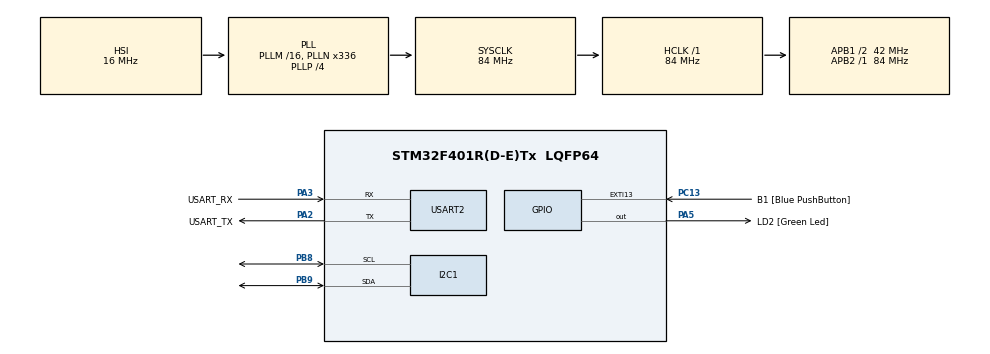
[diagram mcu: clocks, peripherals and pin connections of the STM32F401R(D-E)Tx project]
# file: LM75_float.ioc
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Mcu.Family=STM32F4
Mcu.Name=STM32F401R(D-E)Tx
Mcu.Package=LQFP64
NVIC.PriorityGroup=NVIC_PRIORITYGROUP_0
NVIC.TIM2_IRQn=true\:0\:0\:false\:false\:true\:true\:true
PA13.GPIO_Label=TMS
PA13.Mode=Serial_Wire
PA13.Signal=SYS_JTMS-SWDIO
PA14.GPIO_Label=TCK
PA14.Mode=Serial_Wire
PA14.Signal=SYS_JTCK-SWCLK
PA2.GPIO_Label=USART_TX
PA2.GPIO_Mode=GPIO_MODE_AF_PP
PA2.GPIO_PuPd=GPIO_NOPULL
PA2.GPIO_Speed=GPIO_SPEED_FREQ_LOW
PA2.Mode=Asynchronous
PA2.Signal=USART2_TX
PA3.GPIO_Label=USART_RX
PA3.GPIO_Mode=GPIO_MODE_AF_PP
PA3.GPIO_PuPd=GPIO_NOPULL
PA3.GPIO_Speed=GPIO_SPEED_FREQ_LOW
PA3.Mode=Asynchronous
PA3.Signal=USART2_RX
PA5.GPIO_Label=LD2 [Green Led]
PA5.GPIO_Mode=GPIO_MODE_OUTPUT_PP
PA5.GPIO_PuPd=GPIO_NOPULL
PA5.GPIO_Speed=GPIO_SPEED_FREQ_LOW
PA5.Signal=GPIO_Output
PB3.GPIO_Label=SWO
PB3.Signal=SYS_JTDO-SWO
PB8.Mode=I2C
PB8.Signal=I2C1_SCL
PB9.Mode=I2C
PB9.Signal=I2C1_SDA
PC13-ANTI_TAMP.GPIO_Label=B1 [Blue PushButton]
PC13-ANTI_TAMP.GPIO_ModeDefaultEXTI=GPIO_MODE_IT_FALLING
PC13-ANTI_TAMP.GPIO_PuPd=GPIO_NOPULL
PC13-ANTI_TAMP.Signal=GPXTI13
PC14-OSC32_IN.Mode=LSE-External-Oscillator
PC14-OSC32_IN.Signal=RCC_OSC32_IN
PC15-OSC32_OUT.Mode=LSE-External-Oscillator
PC15-OSC32_OUT.Signal=RCC_OSC32_OUT
PH0\ -\ OSC_IN.Mode=HSE-External-Clock-Source
PH0\ -\ OSC_IN.Signal=RCC_OSC_IN
PH1\ -\ OSC_OUT.Mode=HSE-External-Clock-Source
PH1\ -\ OSC_OUT.Signal=RCC_OSC_OUT
ProjectManager.HeapSize=0x200
ProjectManager.StackSize=0x400
ProjectManager.TargetToolchain=STM32CubeIDE
RCC.48MHZClocksFreq_Value=48000000
RCC.AHBFreq_Value=84000000
RCC.APB1CLKDivider=RCC_HCLK_DIV2
RCC.APB1Freq_Value=42000000
RCC.APB1TimFreq_Value=84000000
RCC.APB2Freq_Value=84000000
RCC.APB2TimFreq_Value=84000000
RCC.CortexFreq_Value=84000000
RCC.HCLKFreq_Value=84000000
RCC.HSE_VALUE=8000000
RCC.HSI_VALUE=16000000
RCC.PLLN=336
RCC.PLLP=RCC_PLLP_DIV4
RCC.PLLQ=7
RCC.SYSCLKFreq_VALUE=84000000
RCC.SYSCLKSource=RCC_SYSCLKSOURCE_PLLCLK
RCC.VCOOutputFreq_Value=336000000
TIM2.Period=10000 - 1
TIM2.Prescaler=8400 - 1
USART2.VirtualMode=VM_ASYNC
VP_TIM2_VS_ClockSourceINT.Mode=Internal
board=NUCLEO-F401RE

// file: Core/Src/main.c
/* USER CODE BEGIN Header */
/**
  ******************************************************************************
  * @file           : main.c
  * @brief          : Main program body
  ******************************************************************************
  * @attention
  *
  * <h2><center>&copy; Copyright (c) 2021 STMicroelectronics.
  * All rights reserved.</center></h2>
  *
  * This software component is licensed by ST under BSD 3-Clause license,
  * the "License"; You may not use this file except in compliance with the
  * License. You may obtain a copy of the License at:
  *                        opensource.org/licenses/BSD-3-Clause
  *
  ******************************************************************************
  */
/* USER CODE END Header */
#include "main.h"

/* USER CODE BEGIN PD */
#define LM75_ADDR_WRITE 0b10010000 + 0
#define LM75_ADDR_READ  0b10010000 + 1

/* USER CODE END PD */

I2C_HandleTypeDef hi2c1;

TIM_HandleTypeDef htim2;

UART_HandleTypeDef huart2;

/* USER CODE BEGIN PV */
uint8_t LM75_TEMP_ADDR = 0x00;
/* USER CODE END PV */

void SystemClock_Config(void);
static void MX_GPIO_Init(void);
static void MX_USART2_UART_Init(void);
static void MX_I2C1_Init(void);
static void MX_TIM2_Init(void);

/* USER CODE BEGIN 0 */
void HAL_TIM_PeriodElapsedCallback(TIM_HandleTypeDef *htim)
{
	if (htim == &htim2){
		uint8_t buffer[50];
		uint8_t data[6];
		int16_t MSByte = 0;
		int16_t LSByte = 0;
		float temperature = 0;
		uint8_t buflen = 0;

		if(HAL_I2C_Master_Receive(&hi2c1, LM75_ADDR_READ, data, 6, 20) == HAL_OK){
			/*
			 * We know that C stores signed numbers in complement 2, so we just have to concatenate our 16bit values into one
			 * By shifting the MSB though, we also multiply our value by 256, so we adjust that dividing by 256
			 */

			//DEBUG -> should return 126.875
//			int16_t MSByte = 0b01111110 << 8;
//			int16_t LSByte = 0b11100000;

			//DEBUG -> should return -25.000 + 0.875 = -24.125
//			int16_t MSByte = 0b11100111 << 8;
//			int16_t LSByte = 0b11100000;

			//DEBUG -> should return -1 + 0.500 = -0.5
//			int16_t MSByte = 0b11111111 << 8;
//			int16_t LSByte = 0b10000000;

			/*
			 * Since the sensor may update the MSByte before the LSByte and viceversa, we take 3 times those values,
			 * so that we can check them and pick the correct ones.
			 * That's why we take 6 bytes instead of 2. So if the first two pairs of MSByte and LSByte are equal, we are good.
			 * Otherwise, we pick the third pair
			 */
			if(data[0] == data[2] && data[1] == data[3]){
				MSByte = data[0] << 8;
				LSByte = data[1];
			}
			else{
				MSByte = data[4] << 8;
				LSByte = data[5];
			}

			temperature = (MSByte | LSByte)/256.0;
			buflen = snprintf(buffer, sizeof(buffer), "Temperature: %.3f C\r\n", temperature);
		}
		else{
			buflen = snprintf(buffer, sizeof(buffer), "Error reading from LM75\r\n");
		}
		HAL_UART_Transmit(&huart2, buffer, buflen, 100);
	}
}
/* USER CODE END 0 */

int main(void)
{

  /* MCU Configuration--------------------------------------------------------*/

  /* Reset of all peripherals, Initializes the Flash interface and the Systick. */
  HAL_Init();

  /* Configure the system clock */
  SystemClock_Config();

  /* Initialize all configured peripherals */
  MX_GPIO_Init();
  MX_USART2_UART_Init();
  MX_I2C1_Init();
  MX_TIM2_Init();
  /* USER CODE BEGIN 2 */
  HAL_I2C_Master_Transmit(&hi2c1, LM75_ADDR_WRITE, &LM75_TEMP_ADDR, 1, 10);
  HAL_TIM_Base_Start_IT(&htim2);
  /* USER CODE END 2 */

  /* Infinite loop */
  while (1)
  {

  }
}

void SystemClock_Config(void)
{
  RCC_OscInitTypeDef RCC_OscInitStruct = {0};
  RCC_ClkInitTypeDef RCC_ClkInitStruct = {0};

  /** Configure the main internal regulator output voltage
  */
  __HAL_RCC_PWR_CLK_ENABLE();
  __HAL_PWR_VOLTAGESCALING_CONFIG(PWR_REGULATOR_VOLTAGE_SCALE2);
  /** Initializes the RCC Oscillators according to the specified parameters
  * in the RCC_OscInitTypeDef structure.
  */
  RCC_OscInitStruct.OscillatorType = RCC_OSCILLATORTYPE_HSI;
  RCC_OscInitStruct.HSIState = RCC_HSI_ON;
  RCC_OscInitStruct.HSICalibrationValue = RCC_HSICALIBRATION_DEFAULT;
  RCC_OscInitStruct.PLL.PLLState = RCC_PLL_ON;
  RCC_OscInitStruct.PLL.PLLSource = RCC_PLLSOURCE_HSI;
  RCC_OscInitStruct.PLL.PLLM = 16;
  RCC_OscInitStruct.PLL.PLLN = 336;
  RCC_OscInitStruct.PLL.PLLP = RCC_PLLP_DIV4;
  RCC_OscInitStruct.PLL.PLLQ = 7;
  if (HAL_RCC_OscConfig(&RCC_OscInitStruct) != HAL_OK)
  {
    Error_Handler();
  }
  /** Initializes the CPU, AHB and APB buses clocks
  */
  RCC_ClkInitStruct.ClockType = RCC_CLOCKTYPE_HCLK|RCC_CLOCKTYPE_SYSCLK
                              |RCC_CLOCKTYPE_PCLK1|RCC_CLOCKTYPE_PCLK2;
  RCC_ClkInitStruct.SYSCLKSource = RCC_SYSCLKSOURCE_PLLCLK;
  RCC_ClkInitStruct.AHBCLKDivider = RCC_SYSCLK_DIV1;
  RCC_ClkInitStruct.APB1CLKDivider = RCC_HCLK_DIV2;
  RCC_ClkInitStruct.APB2CLKDivider = RCC_HCLK_DIV1;

  if (HAL_RCC_ClockConfig(&RCC_ClkInitStruct, FLASH_LATENCY_2) != HAL_OK)
  {
    Error_Handler();
  }
}

static void MX_I2C1_Init(void)
{

  hi2c1.Instance = I2C1;
  hi2c1.Init.ClockSpeed = 100000;
  hi2c1.Init.DutyCycle = I2C_DUTYCYCLE_2;
  hi2c1.Init.OwnAddress1 = 0;
  hi2c1.Init.AddressingMode = I2C_ADDRESSINGMODE_7BIT;
  hi2c1.Init.DualAddressMode = I2C_DUALADDRESS_DISABLE;
  hi2c1.Init.OwnAddress2 = 0;
  hi2c1.Init.GeneralCallMode = I2C_GENERALCALL_DISABLE;
  hi2c1.Init.NoStretchMode = I2C_NOSTRETCH_DISABLE;
  if (HAL_I2C_Init(&hi2c1) != HAL_OK)
  {
    Error_Handler();
  }

}

static void MX_TIM2_Init(void)
{

  TIM_ClockConfigTypeDef sClockSourceConfig = {0};
  TIM_MasterConfigTypeDef sMasterConfig = {0};

  htim2.Instance = TIM2;
  htim2.Init.Prescaler = 8400 - 1;
  htim2.Init.CounterMode = TIM_COUNTERMODE_UP;
  htim2.Init.Period = 10000 - 1;
  htim2.Init.ClockDivision = TIM_CLOCKDIVISION_DIV1;
  htim2.Init.AutoReloadPreload = TIM_AUTORELOAD_PRELOAD_DISABLE;
  if (HAL_TIM_Base_Init(&htim2) != HAL_OK)
  {
    Error_Handler();
  }
  sClockSourceConfig.ClockSource = TIM_CLOCKSOURCE_INTERNAL;
  if (HAL_TIM_ConfigClockSource(&htim2, &sClockSourceConfig) != HAL_OK)
  {
    Error_Handler();
  }
  sMasterConfig.MasterOutputTrigger = TIM_TRGO_RESET;
  sMasterConfig.MasterSlaveMode = TIM_MASTERSLAVEMODE_DISABLE;
  if (HAL_TIMEx_MasterConfigSynchronization(&htim2, &sMasterConfig) != HAL_OK)
  {
    Error_Handler();
  }

}

static void MX_USART2_UART_Init(void)
{

  huart2.Instance = USART2;
  huart2.Init.BaudRate = 115200;
  huart2.Init.WordLength = UART_WORDLENGTH_8B;
  huart2.Init.StopBits = UART_STOPBITS_1;
  huart2.Init.Parity = UART_PARITY_NONE;
  huart2.Init.Mode = UART_MODE_TX_RX;
  huart2.Init.HwFlowCtl = UART_HWCONTROL_NONE;
  huart2.Init.OverSampling = UART_OVERSAMPLING_16;
  if (HAL_UART_Init(&huart2) != HAL_OK)
  {
    Error_Handler();
  }

}

static void MX_GPIO_Init(void)
{
  GPIO_InitTypeDef GPIO_InitStruct = {0};

  /* GPIO Ports Clock Enable */
  __HAL_RCC_GPIOC_CLK_ENABLE();
  __HAL_RCC_GPIOH_CLK_ENABLE();
  __HAL_RCC_GPIOA_CLK_ENABLE();
  __HAL_RCC_GPIOB_CLK_ENABLE();

  /*Configure GPIO pin Output Level */
  HAL_GPIO_WritePin(LD2_GPIO_Port, LD2_Pin, GPIO_PIN_RESET);

  /*Configure GPIO pin : B1_Pin */
  GPIO_InitStruct.Pin = B1_Pin;
  GPIO_InitStruct.Mode = GPIO_MODE_IT_FALLING;
  GPIO_InitStruct.Pull = GPIO_NOPULL;
  HAL_GPIO_Init(B1_GPIO_Port, &GPIO_InitStruct);

  /*Configure GPIO pin : LD2_Pin */
  GPIO_InitStruct.Pin = LD2_Pin;
  GPIO_InitStruct.Mode = GPIO_MODE_OUTPUT_PP;
  GPIO_InitStruct.Pull = GPIO_NOPULL;
  GPIO_InitStruct.Speed = GPIO_SPEED_FREQ_LOW;
  HAL_GPIO_Init(LD2_GPIO_Port, &GPIO_InitStruct);

}

void Error_Handler(void)
{
  __disable_irq();
  while (1)
  {
  }
}

/************************ (C) COPYRIGHT STMicroelectronics *****END OF FILE****/
